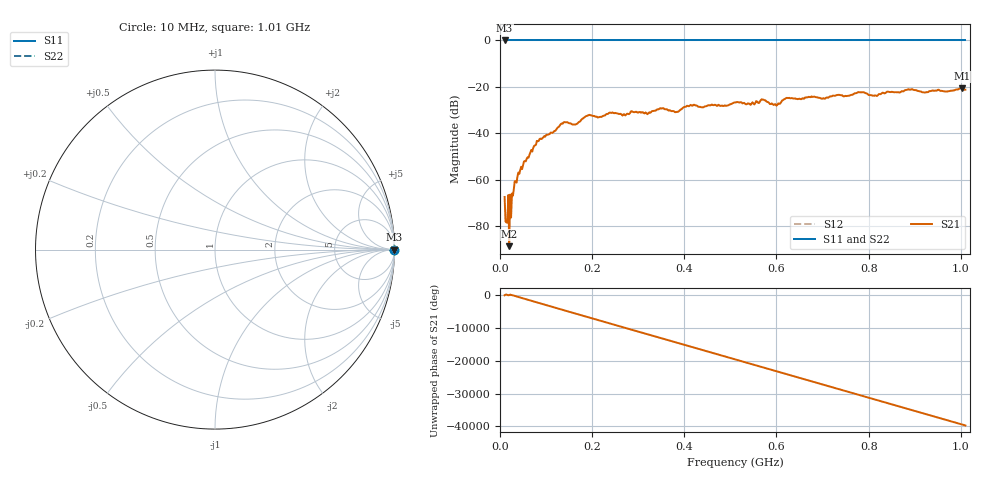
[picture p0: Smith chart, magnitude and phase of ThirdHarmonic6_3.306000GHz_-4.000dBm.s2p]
! 8/17/2025 10:19:09 AM
! C:\ANRITSUVNA\TEMP\TEMP.S2P
! CHANNEL.1
! TR.MEASUREMENT
! RAW.DATA
! RF.CORRECTION.OFF
! AVERAGING.OFF
! IF.BANDWIDTH: 5KHZ
! SWEEPTYPE:  FREQ.SWEEP(Linear)
! Reference Plane Port Info
! PORT:  PORT1  PORT2
! DISTANCE:  0  m  0  m
! TIME:  0  s  0  s
! PHASE.OFFSET:  0  deg.  0  deg.
! LOSS:  0  dB  0  dB
! REF.LOSS:  0  dB  0  dB
! REF.FREQ:  0  Hz  0  Hz
! Power Info
! POWER:  -20  dBm  -20  dBm
! EFF.POWER:  -20  dBm  -20  dBm
! SOURCE.ATTEN:  0  dB  0  dB
! TEST.ATTEN:  0  dB  0  dB
# GHZ S RI R 50.0
! FREQ.GHZ  S11RE  S11IM  S21RE  S21IM  S12RE  S12IM  S22RE  S22IM
!; PortSelection: Port_12
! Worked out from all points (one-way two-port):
!   501 points, 10 MHz to 1.01 GHz, reference 50 ohm
!   highest |S21| = -20.53 dB at 1.002 GHz (marker M1); lowest = -88.5 dB at 20 MHz (marker M2)
!   lowest |S11| = 0.0 dB at 10 MHz (marker M3)
!   |S11| at or under -10 dB: nowhere
!   |S22| runs from 0.0 to 0.0 dB; largest |S21 - S12| = 1.1
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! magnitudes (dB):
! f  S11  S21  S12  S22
! 10 MHz  0.0  -67.3  0.0  0.0
! 16 MHz  0.0  -78.4  0.0  0.0
! 20 MHz  0.0  -88.5  0.0  0.0
! 24 MHz  0.0  -76.2  0.0  0.0
! 30 MHz  0.0  -64.0  0.0  0.0
! 42 MHz  0.0  -57.4  0.0  0.0
! 84 MHz  0.0  -43.2  0.0  0.0
! 136 MHz  0.0  -35.8  0.0  0.0
! 162 MHz  0.0  -36.2  0.0  0.0
! 178 MHz  0.0  -33.8  0.0  0.0
! 194 MHz  0.0  -32.0  0.0  0.0
! 344 MHz  0.0  -29.6  0.0  0.0
! 384 MHz  0.0  -30.7  0.0  0.0
! 410 MHz  0.0  -28.3  0.0  0.0
! 510 MHz  0.0  -26.7  0.0  0.0
! 572 MHz  0.0  -25.5  0.0  0.0
! 598 MHz  0.0  -27.4  0.0  0.0
! 624 MHz  0.0  -24.7  0.0  0.0
! 678 MHz  0.0  -24.3  0.0  0.0
! 844 MHz  0.0  -22.1  0.0  0.0
! 1.002 GHz  0.0  -20.5  0.0  0.0
! 1.01 GHz  0.0  -21.2  0.0  0.0
